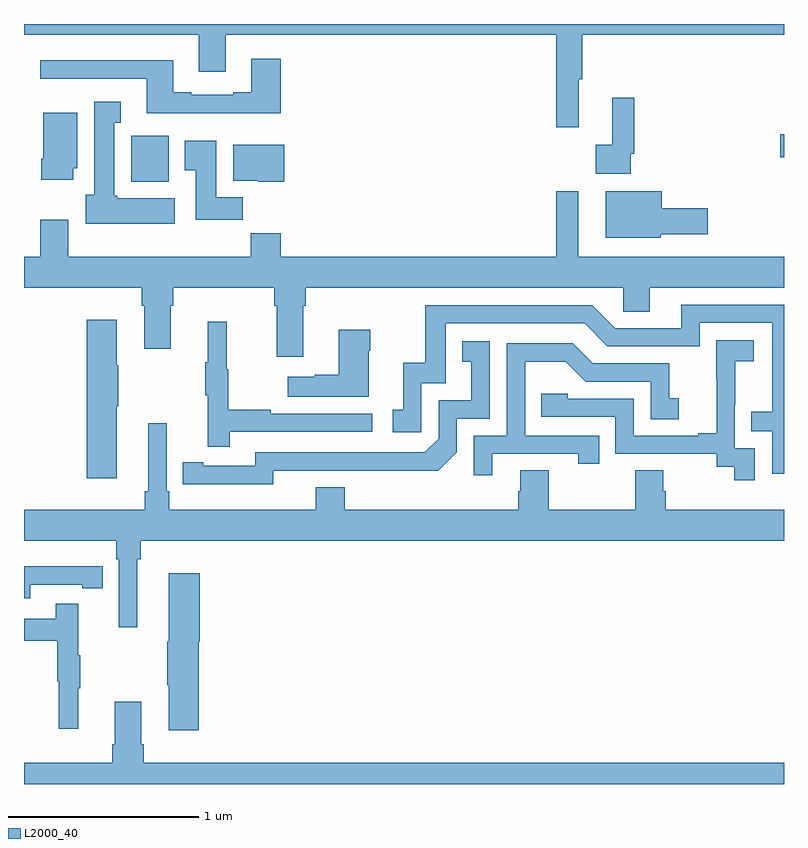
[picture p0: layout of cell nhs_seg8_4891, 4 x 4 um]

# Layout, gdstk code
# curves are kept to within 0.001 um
import gdstk
lib = gdstk.Library(unit=1e-6, precision=1e-09)
def R(c, l, rs):  # rectangles x0, y0, x1, y1
    for r in rs: c.add(gdstk.rectangle(r[:2], r[2:], *l))
def P(c, l, *ps):  # polygons
    for p in ps: c.add(gdstk.Polygon(p, *l))
L2000_40 = (2000, 40)

nhs_seg8_4891 = lib.new_cell('nhs_seg8_4891')
R(nhs_seg8_4891, L2000_40, [(407.564,1105.07,407.761,1105.312), (410.979,1105.199,411,1105.321)])
P(nhs_seg8_4891, L2000_40, [(409.919,1105.608),(409.937,1105.608),(409.937,1105.844),(411,1105.844),(411,1105.9),(407,1105.9),(407,1105.844),(407.921,1105.844),(407.921,1105.65),(408.061,1105.65),(408.061,1105.844),(409.801,1105.844),(409.801,1105.356),(409.919,1105.356)],
  [(408.35,1105.717),(408.197,1105.717),(408.197,1105.54),(408.101,1105.54),(408.101,1105.527),(407.881,1105.527),(407.881,1105.54),(407.785,1105.54),(407.785,1105.708),(407.085,1105.708),(407.085,1105.611),(407.645,1105.611),(407.645,1105.43),(408.35,1105.43)],
  [(410.193,1105.216),(410.213,1105.216),(410.213,1105.513),(410.096,1105.513),(410.096,1105.265),(410.01,1105.265),(410.01,1105.112),(410.193,1105.112)],
  [(407.794,1104.982),(407.49,1104.982),(407.49,1104.996),(407.476,1104.996),(407.476,1105.379),(407.509,1105.379),(407.509,1105.492),(407.369,1105.492),(407.369,1105.002),(407.324,1105.002),(407.324,1104.848),(407.794,1104.848)],
  [(407.26,1105.14),(407.281,1105.14),(407.281,1105.432),(407.102,1105.432),(407.102,1105.192),(407.09,1105.192),(407.09,1105.08),(407.26,1105.08)],
  [(408.152,1104.988),(408.013,1104.988),(408.013,1105.285),(407.846,1105.285),(407.846,1105.129),(407.903,1105.129),(407.903,1104.87),(408.152,1104.87)],
  [(408.37,1105.264),(408.101,1105.264),(408.101,1105.076),(408.234,1105.076),(408.234,1105.07),(408.37,1105.07)],
  [(408.469,1104.416),(408.482,1104.416),(408.482,1104.512),(410.154,1104.512),(410.154,1104.385),(410.293,1104.385),(410.293,1104.512),(411,1104.512),(411,1104.676),(409.918,1104.676),(409.918,1105.021),(409.801,1105.021),(409.801,1104.676),(408.35,1104.676),(408.35,1104.8),(408.193,1104.8),(408.193,1104.676),(407.233,1104.676),(407.233,1104.871),(407.086,1104.871),(407.086,1104.676),(407,1104.676),(407,1104.512),(407.621,1104.512),(407.621,1104.416),(407.633,1104.416),(407.633,1104.192),(407.773,1104.192),(407.773,1104.416),(407.786,1104.416),(407.786,1104.512),(408.317,1104.512),(408.317,1104.416),(408.329,1104.416),(408.329,1104.15),(408.469,1104.15)],
  [(410.352,1104.794),(410.599,1104.794),(410.599,1104.929),(410.356,1104.929),(410.356,1105.021),(410.063,1105.021),(410.063,1104.776),(410.352,1104.776)],
  [(411,1104.423),(410.459,1104.423),(410.459,1104.3),(410.112,1104.3),(409.992,1104.42),(409.113,1104.42),(409.113,1104.118),(408.995,1104.118),(408.995,1103.871),(408.942,1103.871),(408.942,1103.751),(409.092,1103.751),(409.092,1104.009),(409.221,1104.009),(409.221,1104.324),(409.95,1104.324),(410.07,1104.204),(410.556,1104.204),(410.556,1104.327),(410.937,1104.327),(410.937,1103.858),(410.827,1103.858),(410.827,1103.757),(410.937,1103.757),(410.937,1103.532),(411,1103.532)],
  [(407.488,1103.887),(407.496,1103.887),(407.496,1104.104),(407.488,1104.104),(407.488,1104.343),(407.33,1104.343),(407.33,1103.508),(407.488,1103.508)],
  [(408.083,1103.754),(408.832,1103.754),(408.832,1103.85),(408.299,1103.85),(408.299,1103.87),(408.076,1103.87),(408.076,1104.084),(408.068,1104.084),(408.068,1104.334),(407.966,1104.334),(407.966,1104.121),(407.955,1104.121),(407.955,1103.947),(407.966,1103.947),(407.966,1103.676),(408.083,1103.676)],
  [(408.814,1104.179),(408.822,1104.179),(408.822,1104.292),(408.656,1104.292),(408.656,1104.053),(408.53,1104.053),(408.53,1104.043),(408.387,1104.043),(408.387,1103.939),(408.814,1103.939)],
  [(410.847,1103.667),(410.742,1103.667),(410.742,1103.897),(410.744,1103.897),(410.744,1104.125),(410.842,1104.125),(410.842,1104.235),(410.644,1104.235),(410.644,1104.029),(410.645,1104.029),(410.645,1103.746),(410.549,1103.746),(410.549,1103.733),(410.208,1103.733),(410.208,1103.928),(409.863,1103.928),(409.863,1103.955),(409.723,1103.955),(409.723,1103.832),(410.112,1103.832),(410.112,1103.637),(410.646,1103.637),(410.646,1103.569),(410.739,1103.569),(410.739,1103.499),(410.847,1103.499)],
  [(408.312,1103.55),(409.18,1103.549),(409.278,1103.646),(409.278,1103.823),(409.452,1103.823),(409.452,1104.229),(409.306,1104.229),(409.306,1104.123),(409.355,1104.123),(409.355,1103.919),(409.182,1103.919),(409.182,1103.718),(409.11,1103.646),(408.216,1103.646),(408.216,1103.574),(407.944,1103.574),(407.944,1103.594),(407.836,1103.594),(407.836,1103.478),(408.312,1103.477)],
  [(409.465,1103.637),(409.916,1103.637),(409.916,1103.586),(410.027,1103.586),(410.027,1103.733),(409.638,1103.733),(409.638,1104.122),(409.852,1104.122),(409.956,1104.018),(410.298,1104.018),(410.298,1103.82),(410.446,1103.82),(410.446,1103.929),(410.397,1103.929),(410.397,1104.114),(409.993,1104.114),(409.888,1104.219),(409.542,1104.219),(409.542,1103.733),(409.368,1103.733),(409.368,1103.526),(409.465,1103.526)],
  [(407.596,1103.084),(407.615,1103.084),(407.615,1103.18),(411,1103.18),(411,1103.344),(410.378,1103.344),(410.378,1103.442),(410.365,1103.442),(410.365,1103.552),(410.218,1103.552),(410.218,1103.344),(409.761,1103.344),(409.761,1103.552),(409.613,1103.552),(409.613,1103.442),(409.601,1103.442),(409.601,1103.344),(408.689,1103.344),(408.689,1103.461),(408.536,1103.461),(408.536,1103.344),(407.765,1103.344),(407.765,1103.44),(407.751,1103.44),(407.751,1103.8),(407.654,1103.8),(407.654,1103.44),(407.635,1103.44),(407.635,1103.344),(407,1103.344),(407,1103.18),(407.486,1103.18),(407.486,1103.084),(407.499,1103.084),(407.499,1102.725),(407.596,1102.725)],
  [(407.034,1102.95),(407.306,1102.95),(407.306,1102.93),(407.414,1102.93),(407.414,1103.046),(407.306,1103.046),(407.306,1103.047),(407,1103.047),(407,1102.878),(407.034,1102.878)],
  [(407.921,1102.65),(407.926,1102.65),(407.926,1103.008),(407.762,1103.008),(407.762,1102.65),(407.755,1102.65),(407.755,1102.42),(407.762,1102.42),(407.762,1102.182),(407.921,1102.182)],
  [(407.285,1102.403),(407.296,1102.403),(407.296,1102.577),(407.285,1102.577),(407.285,1102.849),(407.167,1102.849),(407.167,1102.77),(407,1102.77),(407,1102.654),(407.175,1102.654),(407.175,1102.44),(407.182,1102.44),(407.182,1102.191),(407.285,1102.191)],
  [(411,1102.012),(407.63,1102.012),(407.63,1102.108),(407.617,1102.108),(407.617,1102.333),(407.477,1102.333),(407.477,1102.108),(407.465,1102.108),(407.465,1102.012),(407,1102.012),(407,1101.9),(411,1101.9)])

lib.write_gds('nhs_seg8_4891.gds')
